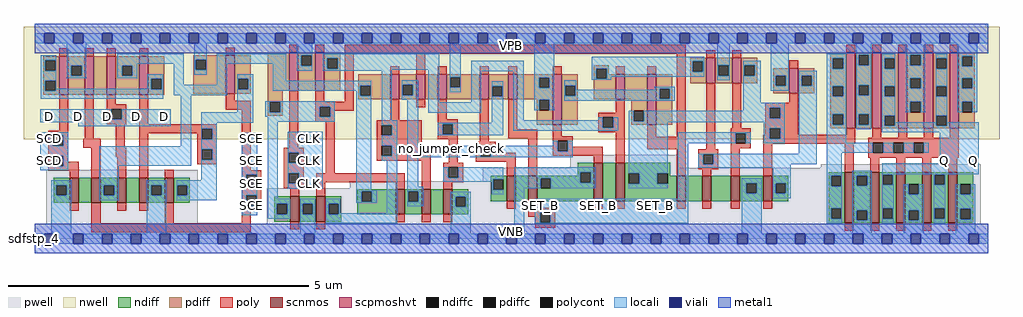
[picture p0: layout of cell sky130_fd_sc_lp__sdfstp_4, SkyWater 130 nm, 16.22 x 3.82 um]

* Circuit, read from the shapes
.subckt sky130_fd_sc_lp__sdfstp_4 CLK D SCD SCE SET_B VGND VNB VPB VPWR Q
XM1 n1 SCD VGND VNB sky130_fd_pr__nfet_01v8 w=0.42 l=0.15
XM2 n2 SCE n1 VNB sky130_fd_pr__nfet_01v8 w=0.42 l=0.15
XM3 n3 D n2 VNB sky130_fd_pr__nfet_01v8 w=0.42 l=0.15
XM4 VGND n4 n3 VNB sky130_fd_pr__nfet_01v8 w=0.42 l=0.15
XM5 n4 SCE VGND VNB sky130_fd_pr__nfet_01v8 w=0.42 l=0.15
XM6 VGND CLK n5 VNB sky130_fd_pr__nfet_01v8 w=0.42 l=0.15
XM7 n6 n5 VGND VNB sky130_fd_pr__nfet_01v8 w=0.42 l=0.15
XM8 n7 n5 n2 VNB sky130_fd_pr__nfet_01v8 w=0.42 l=0.15
XM9 n8 n6 n7 VNB sky130_fd_pr__nfet_01v8 w=0.42 l=0.15
XM10 VGND n9 n8 VNB sky130_fd_pr__nfet_01v8 w=0.42 l=0.15
XM11 n10 n7 n9 VNB sky130_fd_pr__nfet_01v8 w=0.42 l=0.15
XM12 VGND SET_B n10 VNB sky130_fd_pr__nfet_01v8 w=0.42 l=0.15
XM13 n11 n7 VGND VNB sky130_fd_pr__nfet_01v8 w=0.64 l=0.15
XM14 n12 n6 n11 VNB sky130_fd_pr__nfet_01v8 w=0.64 l=0.15
XM15 n13 n5 n12 VNB sky130_fd_pr__nfet_01v8 w=0.42 l=0.15
XM16 n14 n15 n13 VNB sky130_fd_pr__nfet_01v8 w=0.42 l=0.15
XM17 VGND SET_B n14 VNB sky130_fd_pr__nfet_01v8 w=0.42 l=0.15
XM18 n15 n12 VGND VNB sky130_fd_pr__nfet_01v8 w=0.42 l=0.15
XM19 VGND n12 n16 VNB sky130_fd_pr__nfet_01v8 w=0.84 l=0.15
XM20 Q n16 VGND VNB sky130_fd_pr__nfet_01v8 w=0.84 l=0.15 m=4
XM21 VPWR SCD n17 VPB sky130_fd_pr__pfet_01v8_hvt w=0.64 l=0.15
XM22 n18 SCE VPWR VPB sky130_fd_pr__pfet_01v8_hvt w=0.64 l=0.15
XM23 n2 D n18 VPB sky130_fd_pr__pfet_01v8_hvt w=0.64 l=0.15
XM24 n17 n4 n2 VPB sky130_fd_pr__pfet_01v8_hvt w=0.64 l=0.15
XM25 n4 SCE VPWR VPB sky130_fd_pr__pfet_01v8_hvt w=0.64 l=0.15
XM26 VPWR CLK n5 VPB sky130_fd_pr__pfet_01v8_hvt w=0.64 l=0.15
XM27 n6 n5 VPWR VPB sky130_fd_pr__pfet_01v8_hvt w=0.64 l=0.15
XM28 n7 n6 n2 VPB sky130_fd_pr__pfet_01v8_hvt w=0.42 l=0.15
XM29 n19 n5 n7 VPB sky130_fd_pr__pfet_01v8_hvt w=0.42 l=0.15
XM30 VPWR n9 n19 VPB sky130_fd_pr__pfet_01v8_hvt w=0.42 l=0.15
XM31 n9 n7 VPWR VPB sky130_fd_pr__pfet_01v8_hvt w=0.42 l=0.15
XM32 VPWR SET_B n9 VPB sky130_fd_pr__pfet_01v8_hvt w=0.42 l=0.15
XM33 n20 n7 VPWR VPB sky130_fd_pr__pfet_01v8_hvt w=0.84 l=0.15
XM34 n12 n6 n21 VPB sky130_fd_pr__pfet_01v8_hvt w=0.42 l=0.15
XM35 n20 n5 n12 VPB sky130_fd_pr__pfet_01v8_hvt w=0.84 l=0.15
XM36 VPWR n15 n21 VPB sky130_fd_pr__pfet_01v8_hvt w=0.42 l=0.15
XM37 n12 SET_B VPWR VPB sky130_fd_pr__pfet_01v8_hvt w=0.42 l=0.15
XM38 n15 n12 VPWR VPB sky130_fd_pr__pfet_01v8_hvt w=0.42 l=0.15
XM39 VPWR n12 n16 VPB sky130_fd_pr__pfet_01v8_hvt w=1.26 l=0.15
XM40 Q n16 VPWR VPB sky130_fd_pr__pfet_01v8_hvt w=1.26 l=0.15 m=4
.ends

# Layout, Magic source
magic
tech sky130A
magscale 1 2
<< nwell >>
rect -38 331 3206 704
<< pwell >>
rect 1779 235 2137 279
rect 2612 235 3144 247
rect 37 49 541 229
rect 1489 191 3144 235
rect 1046 167 3144 191
rect 770 49 3144 167
rect 0 0 3168 49
<< scnmos >>
rect 116 119 146 203
rect 188 119 218 203
rect 274 119 304 203
rect 346 119 376 203
rect 432 119 462 203
rect 849 57 879 141
rect 935 57 965 141
rect 1199 81 1229 165
rect 1285 81 1315 165
rect 1357 81 1387 165
rect 1568 125 1598 209
rect 1640 125 1670 209
rect 1858 125 1888 253
rect 1930 125 1960 253
rect 2133 125 2163 209
rect 2218 125 2248 209
rect 2313 125 2343 209
rect 2421 125 2451 209
rect 2691 53 2721 221
rect 2777 53 2807 221
rect 2863 53 2893 221
rect 2949 53 2979 221
rect 3035 53 3065 221
<< scpmoshvt >>
rect 80 479 110 607
rect 166 479 196 607
rect 238 479 268 607
rect 346 479 376 607
rect 634 481 664 609
rect 845 491 875 619
rect 931 491 961 619
rect 1181 463 1211 547
rect 1267 463 1297 547
rect 1339 463 1369 547
rect 1479 463 1509 547
rect 1573 463 1603 547
rect 1721 379 1751 547
rect 1930 463 1960 547
rect 2035 379 2065 547
rect 2231 517 2261 601
rect 2317 517 2347 601
rect 2507 483 2537 567
rect 2697 367 2727 619
rect 2783 367 2813 619
rect 2869 367 2899 619
rect 2955 367 2985 619
rect 3041 367 3071 619
<< ndiff >>
rect 63 178 116 203
rect 63 144 71 178
rect 105 144 116 178
rect 63 119 116 144
rect 146 119 188 203
rect 218 178 274 203
rect 218 144 229 178
rect 263 144 274 178
rect 218 119 274 144
rect 304 119 346 203
rect 376 178 432 203
rect 376 144 387 178
rect 421 144 432 178
rect 376 119 432 144
rect 462 178 515 203
rect 462 144 473 178
rect 507 144 515 178
rect 462 119 515 144
rect 1805 220 1858 253
rect 1805 209 1813 220
rect 1515 197 1568 209
rect 1072 157 1199 165
rect 796 116 849 141
rect 796 82 804 116
rect 838 82 849 116
rect 796 57 849 82
rect 879 116 935 141
rect 879 82 890 116
rect 924 82 935 116
rect 879 57 935 82
rect 965 116 1018 141
rect 965 82 976 116
rect 1010 82 1018 116
rect 965 57 1018 82
rect 1072 123 1086 157
rect 1120 123 1199 157
rect 1072 81 1199 123
rect 1229 157 1285 165
rect 1229 123 1240 157
rect 1274 123 1285 157
rect 1229 81 1285 123
rect 1315 81 1357 165
rect 1387 140 1440 165
rect 1387 106 1398 140
rect 1432 106 1440 140
rect 1515 163 1523 197
rect 1557 163 1568 197
rect 1515 125 1568 163
rect 1598 125 1640 209
rect 1670 201 1813 209
rect 1670 167 1681 201
rect 1715 186 1813 201
rect 1847 186 1858 220
rect 1715 167 1858 186
rect 1670 125 1858 167
rect 1888 125 1930 253
rect 1960 217 2111 253
rect 1960 183 1974 217
rect 2008 183 2069 217
rect 2103 209 2111 217
rect 2638 209 2691 221
rect 2103 183 2133 209
rect 1960 125 2133 183
rect 2163 125 2218 209
rect 2248 125 2313 209
rect 2343 185 2421 209
rect 2343 151 2365 185
rect 2399 151 2421 185
rect 2343 125 2421 151
rect 2451 185 2504 209
rect 2451 151 2462 185
rect 2496 151 2504 185
rect 2451 125 2504 151
rect 2638 175 2646 209
rect 2680 175 2691 209
rect 1387 81 1440 106
rect 2638 101 2691 175
rect 2638 67 2646 101
rect 2680 67 2691 101
rect 2638 53 2691 67
rect 2721 210 2777 221
rect 2721 176 2732 210
rect 2766 176 2777 210
rect 2721 95 2777 176
rect 2721 61 2732 95
rect 2766 61 2777 95
rect 2721 53 2777 61
rect 2807 213 2863 221
rect 2807 179 2818 213
rect 2852 179 2863 213
rect 2807 101 2863 179
rect 2807 67 2818 101
rect 2852 67 2863 101
rect 2807 53 2863 67
rect 2893 181 2949 221
rect 2893 147 2904 181
rect 2938 147 2949 181
rect 2893 95 2949 147
rect 2893 61 2904 95
rect 2938 61 2949 95
rect 2893 53 2949 61
rect 2979 213 3035 221
rect 2979 179 2990 213
rect 3024 179 3035 213
rect 2979 101 3035 179
rect 2979 67 2990 101
rect 3024 67 3035 101
rect 2979 53 3035 67
rect 3065 181 3118 221
rect 3065 147 3076 181
rect 3110 147 3118 181
rect 3065 99 3118 147
rect 3065 65 3076 99
rect 3110 65 3118 99
rect 3065 53 3118 65
<< pdiff >>
rect 27 593 80 607
rect 27 559 35 593
rect 69 559 80 593
rect 27 525 80 559
rect 27 491 35 525
rect 69 491 80 525
rect 27 479 80 491
rect 110 575 166 607
rect 110 541 121 575
rect 155 541 166 575
rect 110 479 166 541
rect 196 479 238 607
rect 268 575 346 607
rect 268 541 290 575
rect 324 541 346 575
rect 268 479 346 541
rect 376 531 429 607
rect 376 497 387 531
rect 421 497 429 531
rect 376 479 429 497
rect 527 595 634 609
rect 527 561 535 595
rect 569 561 634 595
rect 527 481 634 561
rect 664 531 717 609
rect 664 497 675 531
rect 709 497 717 531
rect 664 481 717 497
rect 773 491 845 619
rect 875 609 931 619
rect 875 575 886 609
rect 920 575 931 609
rect 875 491 931 575
rect 961 599 1014 619
rect 961 565 972 599
rect 1006 565 1014 599
rect 961 491 1014 565
rect 773 455 823 491
rect 773 421 781 455
rect 815 421 823 455
rect 773 409 823 421
rect 1858 565 1908 577
rect 1074 509 1181 547
rect 1074 475 1082 509
rect 1116 475 1181 509
rect 1074 463 1181 475
rect 1211 511 1267 547
rect 1211 477 1222 511
rect 1256 477 1267 511
rect 1211 463 1267 477
rect 1297 463 1339 547
rect 1369 537 1479 547
rect 1369 503 1380 537
rect 1414 503 1479 537
rect 1369 463 1479 503
rect 1509 507 1573 547
rect 1509 473 1520 507
rect 1554 473 1573 507
rect 1509 463 1573 473
rect 1603 535 1721 547
rect 1603 501 1676 535
rect 1710 501 1721 535
rect 1603 463 1721 501
rect 1668 461 1721 463
rect 1668 427 1676 461
rect 1710 427 1721 461
rect 1668 379 1721 427
rect 1751 509 1804 547
rect 1751 475 1762 509
rect 1796 475 1804 509
rect 1751 379 1804 475
rect 1858 531 1866 565
rect 1900 547 1908 565
rect 1900 531 1930 547
rect 1858 463 1930 531
rect 1960 463 2035 547
rect 1982 425 2035 463
rect 1982 391 1990 425
rect 2024 391 2035 425
rect 1982 379 2035 391
rect 2065 499 2118 547
rect 2065 465 2076 499
rect 2110 465 2118 499
rect 2065 379 2118 465
rect 2178 589 2231 601
rect 2178 555 2186 589
rect 2220 555 2231 589
rect 2178 517 2231 555
rect 2261 576 2317 601
rect 2261 542 2272 576
rect 2306 542 2317 576
rect 2261 517 2317 542
rect 2347 576 2400 601
rect 2644 599 2697 619
rect 2347 542 2358 576
rect 2392 542 2400 576
rect 2347 517 2400 542
rect 2454 542 2507 567
rect 2454 508 2462 542
rect 2496 508 2507 542
rect 2454 483 2507 508
rect 2537 542 2590 567
rect 2537 508 2548 542
rect 2582 508 2590 542
rect 2537 483 2590 508
rect 2644 565 2652 599
rect 2686 565 2697 599
rect 2644 507 2697 565
rect 2644 473 2652 507
rect 2686 473 2697 507
rect 2644 413 2697 473
rect 2644 379 2652 413
rect 2686 379 2697 413
rect 2644 367 2697 379
rect 2727 611 2783 619
rect 2727 577 2738 611
rect 2772 577 2783 611
rect 2727 510 2783 577
rect 2727 476 2738 510
rect 2772 476 2783 510
rect 2727 413 2783 476
rect 2727 379 2738 413
rect 2772 379 2783 413
rect 2727 367 2783 379
rect 2813 599 2869 619
rect 2813 565 2824 599
rect 2858 565 2869 599
rect 2813 507 2869 565
rect 2813 473 2824 507
rect 2858 473 2869 507
rect 2813 409 2869 473
rect 2813 375 2824 409
rect 2858 375 2869 409
rect 2813 367 2869 375
rect 2899 611 2955 619
rect 2899 577 2910 611
rect 2944 577 2955 611
rect 2899 534 2955 577
rect 2899 500 2910 534
rect 2944 500 2955 534
rect 2899 455 2955 500
rect 2899 421 2910 455
rect 2944 421 2955 455
rect 2899 367 2955 421
rect 2985 599 3041 619
rect 2985 565 2996 599
rect 3030 565 3041 599
rect 2985 507 3041 565
rect 2985 473 2996 507
rect 3030 473 3041 507
rect 2985 409 3041 473
rect 2985 375 2996 409
rect 3030 375 3041 409
rect 2985 367 3041 375
rect 3071 607 3124 619
rect 3071 573 3082 607
rect 3116 573 3124 607
rect 3071 534 3124 573
rect 3071 500 3082 534
rect 3116 500 3124 534
rect 3071 455 3124 500
rect 3071 421 3082 455
rect 3116 421 3124 455
rect 3071 367 3124 421
<< ndiffc >>
rect 71 144 105 178
rect 229 144 263 178
rect 387 144 421 178
rect 473 144 507 178
rect 804 82 838 116
rect 890 82 924 116
rect 976 82 1010 116
rect 1086 123 1120 157
rect 1240 123 1274 157
rect 1398 106 1432 140
rect 1523 163 1557 197
rect 1681 167 1715 201
rect 1813 186 1847 220
rect 1974 183 2008 217
rect 2069 183 2103 217
rect 2365 151 2399 185
rect 2462 151 2496 185
rect 2646 175 2680 209
rect 2646 67 2680 101
rect 2732 176 2766 210
rect 2732 61 2766 95
rect 2818 179 2852 213
rect 2818 67 2852 101
rect 2904 147 2938 181
rect 2904 61 2938 95
rect 2990 179 3024 213
rect 2990 67 3024 101
rect 3076 147 3110 181
rect 3076 65 3110 99
<< pdiffc >>
rect 35 559 69 593
rect 35 491 69 525
rect 121 541 155 575
rect 290 541 324 575
rect 387 497 421 531
rect 535 561 569 595
rect 675 497 709 531
rect 886 575 920 609
rect 972 565 1006 599
rect 781 421 815 455
rect 1082 475 1116 509
rect 1222 477 1256 511
rect 1380 503 1414 537
rect 1520 473 1554 507
rect 1676 501 1710 535
rect 1676 427 1710 461
rect 1762 475 1796 509
rect 1866 531 1900 565
rect 1990 391 2024 425
rect 2076 465 2110 499
rect 2186 555 2220 589
rect 2272 542 2306 576
rect 2358 542 2392 576
rect 2462 508 2496 542
rect 2548 508 2582 542
rect 2652 565 2686 599
rect 2652 473 2686 507
rect 2652 379 2686 413
rect 2738 577 2772 611
rect 2738 476 2772 510
rect 2738 379 2772 413
rect 2824 565 2858 599
rect 2824 473 2858 507
rect 2824 375 2858 409
rect 2910 577 2944 611
rect 2910 500 2944 534
rect 2910 421 2944 455
rect 2996 565 3030 599
rect 2996 473 3030 507
rect 2996 375 3030 409
rect 3082 573 3116 607
rect 3082 500 3116 534
rect 3082 421 3116 455
<< poly >>
rect 80 607 110 633
rect 166 607 196 633
rect 238 607 268 633
rect 346 607 376 633
rect 634 609 664 635
rect 845 619 875 645
rect 931 619 961 645
rect 1029 615 2163 645
rect 80 359 110 479
rect 44 343 110 359
rect 44 309 60 343
rect 94 309 110 343
rect 166 333 196 479
rect 238 447 268 479
rect 238 431 304 447
rect 238 397 254 431
rect 288 397 304 431
rect 238 381 304 397
rect 346 381 376 479
rect 634 459 664 481
rect 634 429 717 459
rect 44 275 110 309
rect 160 303 218 333
rect 44 241 60 275
rect 94 255 110 275
rect 94 241 146 255
rect 44 225 146 241
rect 116 203 146 225
rect 188 203 218 303
rect 268 303 298 381
rect 346 365 605 381
rect 346 351 555 365
rect 268 273 304 303
rect 274 203 304 273
rect 346 203 376 351
rect 539 331 555 351
rect 589 331 605 365
rect 539 297 605 331
rect 539 263 555 297
rect 589 263 605 297
rect 539 247 605 263
rect 432 203 462 229
rect 687 228 717 429
rect 845 302 875 491
rect 931 455 961 491
rect 1029 455 1059 615
rect 1181 547 1211 573
rect 1267 547 1297 615
rect 1339 547 1369 573
rect 1479 547 1509 573
rect 1573 547 1603 573
rect 1721 547 1751 573
rect 931 439 1059 455
rect 931 405 947 439
rect 981 425 1059 439
rect 981 405 997 425
rect 931 389 997 405
rect 1181 393 1211 463
rect 1267 437 1297 463
rect 1339 397 1369 463
rect 827 286 893 302
rect 827 252 843 286
rect 877 252 893 286
rect 687 212 753 228
rect 687 178 703 212
rect 737 178 753 212
rect 687 144 753 178
rect 827 218 893 252
rect 827 184 843 218
rect 877 184 893 218
rect 967 217 997 389
rect 1136 377 1285 393
rect 1136 343 1152 377
rect 1186 343 1285 377
rect 1136 309 1285 343
rect 1339 381 1405 397
rect 1339 347 1355 381
rect 1389 347 1405 381
rect 1339 331 1405 347
rect 1136 275 1152 309
rect 1186 289 1285 309
rect 1186 275 1315 289
rect 1136 259 1315 275
rect 827 168 893 184
rect 935 187 1229 217
rect 116 93 146 119
rect 188 51 218 119
rect 274 93 304 119
rect 346 93 376 119
rect 432 51 462 119
rect 687 110 703 144
rect 737 110 753 144
rect 849 141 879 168
rect 935 141 965 187
rect 1199 165 1229 187
rect 1285 165 1315 259
rect 1375 253 1405 331
rect 1479 323 1509 463
rect 1573 364 1603 463
rect 1930 547 1960 573
rect 2035 547 2065 573
rect 1930 419 1960 463
rect 1872 403 1960 419
rect 1573 334 1670 364
rect 1465 307 1531 323
rect 1465 273 1481 307
rect 1515 286 1531 307
rect 1515 273 1598 286
rect 1465 256 1598 273
rect 1357 237 1423 253
rect 1357 203 1373 237
rect 1407 203 1423 237
rect 1568 209 1598 256
rect 1640 209 1670 334
rect 1721 341 1751 379
rect 1872 369 1888 403
rect 1922 369 1960 403
rect 1872 353 1960 369
rect 1721 325 1787 341
rect 1721 291 1737 325
rect 1771 305 1787 325
rect 1771 291 1888 305
rect 1721 275 1888 291
rect 1858 253 1888 275
rect 1930 253 1960 353
rect 2035 339 2065 379
rect 2133 339 2163 615
rect 2231 601 2261 627
rect 2317 601 2347 627
rect 2697 619 2727 645
rect 2783 619 2813 645
rect 2869 619 2899 645
rect 2955 619 2985 645
rect 3041 619 3071 645
rect 2507 567 2537 593
rect 2035 297 2163 339
rect 2231 297 2261 517
rect 2317 367 2347 517
rect 2507 451 2537 483
rect 2427 435 2537 451
rect 2427 401 2443 435
rect 2477 401 2537 435
rect 2427 367 2537 401
rect 2313 351 2379 367
rect 2313 317 2329 351
rect 2363 317 2379 351
rect 2427 345 2443 367
rect 2313 301 2379 317
rect 2421 333 2443 345
rect 2477 345 2537 367
rect 2697 345 2727 367
rect 2477 333 2727 345
rect 2783 335 2813 367
rect 2869 335 2899 367
rect 2955 335 2985 367
rect 3041 335 3071 367
rect 2421 315 2727 333
rect 2769 319 3071 335
rect 1357 187 1423 203
rect 1357 165 1387 187
rect 687 94 753 110
rect 687 51 717 94
rect 2133 209 2163 297
rect 2205 281 2271 297
rect 2205 247 2221 281
rect 2255 247 2271 281
rect 2205 231 2271 247
rect 2218 209 2248 231
rect 2313 209 2343 301
rect 2421 209 2451 315
rect 2691 221 2721 315
rect 2769 285 2785 319
rect 2819 285 2853 319
rect 2887 285 2921 319
rect 2955 285 3071 319
rect 2769 269 3071 285
rect 2777 221 2807 269
rect 2863 221 2893 269
rect 2949 221 2979 269
rect 3035 221 3065 269
rect 1568 99 1598 125
rect 1640 103 1670 125
rect 1640 87 1729 103
rect 1858 99 1888 125
rect 1930 99 1960 125
rect 2133 99 2163 125
rect 2218 99 2248 125
rect 2313 99 2343 125
rect 2421 99 2451 125
rect 188 21 717 51
rect 849 31 879 57
rect 935 31 965 57
rect 1199 55 1229 81
rect 1285 55 1315 81
rect 1357 55 1387 81
rect 1640 73 1679 87
rect 1663 53 1679 73
rect 1713 53 1729 87
rect 1663 37 1729 53
rect 2691 27 2721 53
rect 2777 27 2807 53
rect 2863 27 2893 53
rect 2949 27 2979 53
rect 3035 27 3065 53
<< polycont >>
rect 60 309 94 343
rect 254 397 288 431
rect 60 241 94 275
rect 555 331 589 365
rect 555 263 589 297
rect 947 405 981 439
rect 843 252 877 286
rect 703 178 737 212
rect 843 184 877 218
rect 1152 343 1186 377
rect 1355 347 1389 381
rect 1152 275 1186 309
rect 703 110 737 144
rect 1481 273 1515 307
rect 1373 203 1407 237
rect 1888 369 1922 403
rect 1737 291 1771 325
rect 2443 401 2477 435
rect 2329 317 2363 351
rect 2443 333 2477 367
rect 2221 247 2255 281
rect 2785 285 2819 319
rect 2853 285 2887 319
rect 2921 285 2955 319
rect 1679 53 1713 87
<< locali >>
rect 0 649 31 683
rect 65 649 127 683
rect 161 649 223 683
rect 257 649 319 683
rect 353 649 415 683
rect 449 649 511 683
rect 545 649 607 683
rect 641 649 703 683
rect 737 649 799 683
rect 833 649 895 683
rect 929 649 991 683
rect 1025 649 1087 683
rect 1121 649 1183 683
rect 1217 649 1279 683
rect 1313 649 1375 683
rect 1409 649 1471 683
rect 1505 649 1567 683
rect 1601 649 1663 683
rect 1697 649 1759 683
rect 1793 649 1855 683
rect 1889 649 1951 683
rect 1985 649 2047 683
rect 2081 649 2143 683
rect 2177 649 2239 683
rect 2273 649 2335 683
rect 2369 649 2431 683
rect 2465 649 2527 683
rect 2561 649 2623 683
rect 2657 649 2719 683
rect 2753 649 2815 683
rect 2849 649 2911 683
rect 2945 649 3007 683
rect 3041 649 3103 683
rect 3137 649 3168 683
rect 19 593 71 609
rect 19 559 35 593
rect 69 559 71 593
rect 19 525 71 559
rect 105 575 171 649
rect 105 541 121 575
rect 155 541 171 575
rect 105 533 171 541
rect 274 581 495 615
rect 274 575 340 581
rect 274 541 290 575
rect 324 541 340 575
rect 274 533 340 541
rect 19 491 35 525
rect 69 499 71 525
rect 374 531 427 547
rect 374 499 387 531
rect 69 497 387 499
rect 421 497 427 531
rect 69 491 427 497
rect 19 465 427 491
rect 461 511 495 581
rect 529 595 571 649
rect 529 561 535 595
rect 569 561 571 595
rect 529 545 571 561
rect 605 581 836 615
rect 605 511 639 581
rect 461 477 639 511
rect 673 531 725 547
rect 673 497 675 531
rect 709 497 725 531
rect 17 397 254 431
rect 288 397 451 431
rect 17 387 451 397
rect 144 374 451 387
rect 17 343 110 353
rect 17 309 60 343
rect 94 309 110 343
rect 17 275 110 309
rect 485 308 519 477
rect 673 420 725 497
rect 791 525 836 581
rect 870 609 922 649
rect 870 575 886 609
rect 920 575 922 609
rect 870 559 922 575
rect 956 599 1344 615
rect 956 565 972 599
rect 1006 565 1344 599
rect 956 561 1344 565
rect 956 559 1186 561
rect 791 509 1118 525
rect 791 491 1082 509
rect 1068 475 1082 491
rect 1116 475 1118 509
rect 17 241 60 275
rect 94 241 110 275
rect 17 228 110 241
rect 213 243 519 308
rect 553 386 725 420
rect 765 455 997 457
rect 765 421 781 455
rect 815 439 997 455
rect 815 421 947 439
rect 765 405 947 421
rect 981 405 997 439
rect 773 389 997 405
rect 553 365 605 386
rect 553 331 555 365
rect 589 331 605 365
rect 553 297 605 331
rect 553 263 555 297
rect 589 263 605 297
rect 55 178 121 194
rect 55 144 71 178
rect 105 144 121 178
rect 55 17 121 144
rect 213 178 279 243
rect 553 194 605 263
rect 213 144 229 178
rect 263 144 279 178
rect 213 128 279 144
rect 371 178 437 194
rect 371 144 387 178
rect 421 144 437 178
rect 371 17 437 144
rect 471 178 605 194
rect 471 144 473 178
rect 507 144 605 178
rect 471 128 605 144
rect 687 212 739 352
rect 687 178 703 212
rect 737 178 739 212
rect 687 144 739 178
rect 687 110 703 144
rect 737 110 739 144
rect 687 78 739 110
rect 773 132 807 389
rect 841 286 956 355
rect 841 252 843 286
rect 877 252 956 286
rect 841 218 956 252
rect 841 184 843 218
rect 877 184 956 218
rect 841 166 956 184
rect 1068 161 1118 475
rect 1152 393 1186 559
rect 1220 511 1274 527
rect 1220 477 1222 511
rect 1256 477 1274 511
rect 1220 461 1274 477
rect 1152 377 1204 393
rect 1186 343 1204 377
rect 1152 309 1204 343
rect 1186 275 1204 309
rect 1152 259 1204 275
rect 1068 157 1136 161
rect 773 116 848 132
rect 773 82 804 116
rect 838 82 848 116
rect 773 66 848 82
rect 882 116 932 132
rect 882 82 890 116
rect 924 82 932 116
rect 882 17 932 82
rect 966 116 1014 132
rect 1068 123 1086 157
rect 1120 123 1136 157
rect 1068 119 1136 123
rect 966 82 976 116
rect 1010 85 1014 116
rect 1170 85 1204 259
rect 1238 309 1274 461
rect 1308 453 1344 561
rect 1378 537 1416 649
rect 1378 503 1380 537
rect 1414 503 1416 537
rect 1378 487 1416 503
rect 1450 557 1624 591
rect 1450 453 1484 557
rect 1308 419 1484 453
rect 1518 507 1556 523
rect 1518 473 1520 507
rect 1554 473 1556 507
rect 1518 385 1556 473
rect 1339 381 1556 385
rect 1339 347 1355 381
rect 1389 347 1556 381
rect 1590 393 1624 557
rect 1660 535 1726 649
rect 1660 501 1676 535
rect 1710 501 1726 535
rect 1850 589 2224 605
rect 1850 565 2186 589
rect 1850 531 1866 565
rect 1900 555 2186 565
rect 2220 555 2224 589
rect 1900 539 2224 555
rect 2268 576 2310 649
rect 2268 542 2272 576
rect 2306 542 2310 576
rect 1900 531 1916 539
rect 1850 529 1916 531
rect 1660 461 1726 501
rect 1660 427 1676 461
rect 1710 427 1726 461
rect 1760 509 1800 527
rect 2268 526 2310 542
rect 2354 576 2412 592
rect 2354 542 2358 576
rect 2392 542 2412 576
rect 1760 475 1762 509
rect 1796 495 1800 509
rect 2060 499 2126 505
rect 2060 495 2076 499
rect 1796 475 2076 495
rect 1760 465 2076 475
rect 2110 465 2126 499
rect 1760 459 2126 465
rect 2354 451 2412 542
rect 2446 542 2505 649
rect 2632 599 2696 615
rect 2632 565 2652 599
rect 2686 565 2696 599
rect 2446 508 2462 542
rect 2496 508 2505 542
rect 2446 492 2505 508
rect 2539 542 2598 558
rect 2539 508 2548 542
rect 2582 508 2598 542
rect 2354 435 2493 451
rect 2354 425 2443 435
rect 1872 393 1888 403
rect 1590 369 1888 393
rect 1922 369 1938 403
rect 1590 359 1938 369
rect 1974 391 1990 425
rect 2024 401 2443 425
rect 2477 401 2493 435
rect 2024 391 2493 401
rect 1974 387 2493 391
rect 1339 343 1556 347
rect 1721 309 1737 325
rect 1238 307 1737 309
rect 1238 273 1481 307
rect 1515 291 1737 307
rect 1771 291 1787 325
rect 1515 273 1787 291
rect 1238 271 1787 273
rect 1238 173 1274 271
rect 1357 203 1373 237
rect 1407 203 1557 237
rect 1357 197 1557 203
rect 1357 190 1523 197
rect 1238 157 1290 173
rect 1238 123 1240 157
rect 1274 123 1290 157
rect 1519 163 1523 190
rect 1238 107 1290 123
rect 1382 140 1448 156
rect 1519 147 1557 163
rect 1593 220 1863 237
rect 1593 201 1813 220
rect 1593 167 1681 201
rect 1715 186 1813 201
rect 1847 186 1863 220
rect 1715 167 1863 186
rect 1974 217 2103 387
rect 2422 367 2493 387
rect 2008 183 2069 217
rect 1974 167 2103 183
rect 2137 351 2379 353
rect 2137 317 2329 351
rect 2363 317 2379 351
rect 2422 333 2443 367
rect 2477 333 2493 367
rect 2422 317 2493 333
rect 1010 82 1204 85
rect 966 51 1204 82
rect 1382 106 1398 140
rect 1432 106 1448 140
rect 1382 17 1448 106
rect 1593 17 1627 167
rect 2137 133 2171 317
rect 2539 283 2598 508
rect 2205 281 2598 283
rect 2205 247 2221 281
rect 2255 247 2598 281
rect 2632 507 2696 565
rect 2632 473 2652 507
rect 2686 473 2696 507
rect 2632 413 2696 473
rect 2632 379 2652 413
rect 2686 379 2696 413
rect 2632 319 2696 379
rect 2730 611 2780 649
rect 2730 577 2738 611
rect 2772 577 2780 611
rect 2730 510 2780 577
rect 2730 476 2738 510
rect 2772 476 2780 510
rect 2730 413 2780 476
rect 2730 379 2738 413
rect 2772 379 2780 413
rect 2730 363 2780 379
rect 2814 599 2860 615
rect 2814 565 2824 599
rect 2858 565 2860 599
rect 2814 507 2860 565
rect 2814 473 2824 507
rect 2858 473 2860 507
rect 2814 409 2860 473
rect 2894 611 2960 649
rect 2894 577 2910 611
rect 2944 577 2960 611
rect 2894 534 2960 577
rect 2894 500 2910 534
rect 2944 500 2960 534
rect 2894 455 2960 500
rect 2894 421 2910 455
rect 2944 421 2960 455
rect 2994 599 3032 615
rect 2994 565 2996 599
rect 3030 565 3032 599
rect 2994 507 3032 565
rect 2994 473 2996 507
rect 3030 473 3032 507
rect 2814 375 2824 409
rect 2858 387 2860 409
rect 2994 409 3032 473
rect 3066 607 3132 649
rect 3066 573 3082 607
rect 3116 573 3132 607
rect 3066 534 3132 573
rect 3066 500 3082 534
rect 3116 500 3132 534
rect 3066 455 3132 500
rect 3066 421 3082 455
rect 3116 421 3132 455
rect 2994 387 2996 409
rect 2858 375 2996 387
rect 3030 387 3032 409
rect 3030 375 3137 387
rect 2814 353 3137 375
rect 2632 285 2785 319
rect 2819 285 2853 319
rect 2887 285 2921 319
rect 2955 285 2971 319
rect 2205 235 2512 247
rect 1661 87 2171 133
rect 1661 53 1679 87
rect 1713 53 2171 87
rect 1661 51 2171 53
rect 2349 185 2415 201
rect 2349 151 2365 185
rect 2399 151 2415 185
rect 2349 17 2415 151
rect 2453 185 2512 235
rect 2453 151 2462 185
rect 2496 151 2512 185
rect 2453 135 2512 151
rect 2632 209 2682 285
rect 3007 251 3137 353
rect 2632 175 2646 209
rect 2680 175 2682 209
rect 2632 101 2682 175
rect 2632 67 2646 101
rect 2680 67 2682 101
rect 2632 51 2682 67
rect 2716 210 2782 226
rect 2716 176 2732 210
rect 2766 176 2782 210
rect 2716 95 2782 176
rect 2716 61 2732 95
rect 2766 61 2782 95
rect 2716 17 2782 61
rect 2816 215 3137 251
rect 2816 213 2854 215
rect 2816 179 2818 213
rect 2852 179 2854 213
rect 2988 213 3026 215
rect 2816 101 2854 179
rect 2816 67 2818 101
rect 2852 67 2854 101
rect 2816 51 2854 67
rect 2888 147 2904 181
rect 2938 147 2954 181
rect 2888 95 2954 147
rect 2888 61 2904 95
rect 2938 61 2954 95
rect 2888 17 2954 61
rect 2988 179 2990 213
rect 3024 179 3026 213
rect 2988 101 3026 179
rect 2988 67 2990 101
rect 3024 67 3026 101
rect 2988 51 3026 67
rect 3060 147 3076 181
rect 3110 147 3126 181
rect 3060 99 3126 147
rect 3060 65 3076 99
rect 3110 65 3126 99
rect 3060 17 3126 65
rect 0 -17 31 17
rect 65 -17 127 17
rect 161 -17 223 17
rect 257 -17 319 17
rect 353 -17 415 17
rect 449 -17 511 17
rect 545 -17 607 17
rect 641 -17 703 17
rect 737 -17 799 17
rect 833 -17 895 17
rect 929 -17 991 17
rect 1025 -17 1087 17
rect 1121 -17 1183 17
rect 1217 -17 1279 17
rect 1313 -17 1375 17
rect 1409 -17 1471 17
rect 1505 -17 1567 17
rect 1601 -17 1663 17
rect 1697 -17 1759 17
rect 1793 -17 1855 17
rect 1889 -17 1951 17
rect 1985 -17 2047 17
rect 2081 -17 2143 17
rect 2177 -17 2239 17
rect 2273 -17 2335 17
rect 2369 -17 2431 17
rect 2465 -17 2527 17
rect 2561 -17 2623 17
rect 2657 -17 2719 17
rect 2753 -17 2815 17
rect 2849 -17 2911 17
rect 2945 -17 3007 17
rect 3041 -17 3103 17
rect 3137 -17 3168 17
<< viali >>
rect 31 649 65 683
rect 127 649 161 683
rect 223 649 257 683
rect 319 649 353 683
rect 415 649 449 683
rect 511 649 545 683
rect 607 649 641 683
rect 703 649 737 683
rect 799 649 833 683
rect 895 649 929 683
rect 991 649 1025 683
rect 1087 649 1121 683
rect 1183 649 1217 683
rect 1279 649 1313 683
rect 1375 649 1409 683
rect 1471 649 1505 683
rect 1567 649 1601 683
rect 1663 649 1697 683
rect 1759 649 1793 683
rect 1855 649 1889 683
rect 1951 649 1985 683
rect 2047 649 2081 683
rect 2143 649 2177 683
rect 2239 649 2273 683
rect 2335 649 2369 683
rect 2431 649 2465 683
rect 2527 649 2561 683
rect 2623 649 2657 683
rect 2719 649 2753 683
rect 2815 649 2849 683
rect 2911 649 2945 683
rect 3007 649 3041 683
rect 3103 649 3137 683
rect 31 -17 65 17
rect 127 -17 161 17
rect 223 -17 257 17
rect 319 -17 353 17
rect 415 -17 449 17
rect 511 -17 545 17
rect 607 -17 641 17
rect 703 -17 737 17
rect 799 -17 833 17
rect 895 -17 929 17
rect 991 -17 1025 17
rect 1087 -17 1121 17
rect 1183 -17 1217 17
rect 1279 -17 1313 17
rect 1375 -17 1409 17
rect 1471 -17 1505 17
rect 1567 -17 1601 17
rect 1663 -17 1697 17
rect 1759 -17 1793 17
rect 1855 -17 1889 17
rect 1951 -17 1985 17
rect 2047 -17 2081 17
rect 2143 -17 2177 17
rect 2239 -17 2273 17
rect 2335 -17 2369 17
rect 2431 -17 2465 17
rect 2527 -17 2561 17
rect 2623 -17 2657 17
rect 2719 -17 2753 17
rect 2815 -17 2849 17
rect 2911 -17 2945 17
rect 3007 -17 3041 17
rect 3103 -17 3137 17
<< metal1 >>
rect 0 683 3168 715
rect 0 649 31 683
rect 65 649 127 683
rect 161 649 223 683
rect 257 649 319 683
rect 353 649 415 683
rect 449 649 511 683
rect 545 649 607 683
rect 641 649 703 683
rect 737 649 799 683
rect 833 649 895 683
rect 929 649 991 683
rect 1025 649 1087 683
rect 1121 649 1183 683
rect 1217 649 1279 683
rect 1313 649 1375 683
rect 1409 649 1471 683
rect 1505 649 1567 683
rect 1601 649 1663 683
rect 1697 649 1759 683
rect 1793 649 1855 683
rect 1889 649 1951 683
rect 1985 649 2047 683
rect 2081 649 2143 683
rect 2177 649 2239 683
rect 2273 649 2335 683
rect 2369 649 2431 683
rect 2465 649 2527 683
rect 2561 649 2623 683
rect 2657 649 2719 683
rect 2753 649 2815 683
rect 2849 649 2911 683
rect 2945 649 3007 683
rect 3041 649 3103 683
rect 3137 649 3168 683
rect 0 617 3168 649
rect 0 17 3168 49
rect 0 -17 31 17
rect 65 -17 127 17
rect 161 -17 223 17
rect 257 -17 319 17
rect 353 -17 415 17
rect 449 -17 511 17
rect 545 -17 607 17
rect 641 -17 703 17
rect 737 -17 799 17
rect 833 -17 895 17
rect 929 -17 991 17
rect 1025 -17 1087 17
rect 1121 -17 1183 17
rect 1217 -17 1279 17
rect 1313 -17 1375 17
rect 1409 -17 1471 17
rect 1505 -17 1567 17
rect 1601 -17 1663 17
rect 1697 -17 1759 17
rect 1793 -17 1855 17
rect 1889 -17 1951 17
rect 1985 -17 2047 17
rect 2081 -17 2143 17
rect 2177 -17 2239 17
rect 2273 -17 2335 17
rect 2369 -17 2431 17
rect 2465 -17 2527 17
rect 2561 -17 2623 17
rect 2657 -17 2719 17
rect 2753 -17 2815 17
rect 2849 -17 2911 17
rect 2945 -17 3007 17
rect 3041 -17 3103 17
rect 3137 -17 3168 17
rect 0 -49 3168 -17
<< labels >>
flabel pwell s 0 0 3168 49 0 FreeSans 200 0 0 0 VNB
port 7 nsew ground bidirectional
flabel nwell s 0 617 3168 666 0 FreeSans 200 0 0 0 VPB
port 8 nsew power bidirectional
rlabel comment s 0 0 0 0 4 sdfstp_4
flabel comment s 1385 301 1385 301 0 FreeSans 200 90 0 0 no_jumper_check
flabel metal1 s 0 617 3168 666 0 FreeSans 340 0 0 0 VPWR
port 9 nsew power bidirectional
flabel metal1 s 0 0 3168 49 0 FreeSans 340 0 0 0 VGND
port 6 nsew ground bidirectional
flabel locali s 895 168 929 202 0 FreeSans 340 0 0 0 CLK
port 1 nsew clock input
flabel locali s 895 242 929 276 0 FreeSans 340 0 0 0 CLK
port 1 nsew clock input
flabel locali s 895 316 929 350 0 FreeSans 340 0 0 0 CLK
port 1 nsew clock input
flabel locali s 703 94 737 128 0 FreeSans 340 0 0 0 SCE
port 4 nsew signal input
flabel locali s 703 168 737 202 0 FreeSans 340 0 0 0 SCE
port 4 nsew signal input
flabel locali s 703 242 737 276 0 FreeSans 340 0 0 0 SCE
port 4 nsew signal input
flabel locali s 703 316 737 350 0 FreeSans 340 0 0 0 SCE
port 4 nsew signal input
flabel locali s 31 242 65 276 0 FreeSans 340 0 0 0 SCD
port 3 nsew signal input
flabel locali s 31 316 65 350 0 FreeSans 340 0 0 0 SCD
port 3 nsew signal input
flabel locali s 31 390 65 424 0 FreeSans 340 0 0 0 D
port 2 nsew signal input
flabel locali s 127 390 161 424 0 FreeSans 340 0 0 0 D
port 2 nsew signal input
flabel locali s 223 390 257 424 0 FreeSans 340 0 0 0 D
port 2 nsew signal input
flabel locali s 319 390 353 424 0 FreeSans 340 0 0 0 D
port 2 nsew signal input
flabel locali s 415 390 449 424 0 FreeSans 340 0 0 0 D
port 2 nsew signal input
flabel locali s 3007 242 3041 276 0 FreeSans 340 0 0 0 Q
port 10 nsew signal output
flabel locali s 3103 242 3137 276 0 FreeSans 340 0 0 0 Q
port 10 nsew signal output
flabel locali s 1663 94 1697 128 0 FreeSans 340 0 0 0 SET_B
port 5 nsew signal input
flabel locali s 1759 94 1793 128 0 FreeSans 340 0 0 0 SET_B
port 5 nsew signal input
flabel locali s 1855 94 1889 128 0 FreeSans 340 0 0 0 SET_B
port 5 nsew signal input
flabel locali s 1951 94 1985 128 0 FreeSans 340 0 0 0 SET_B
port 5 nsew signal input
flabel locali s 2047 94 2081 128 0 FreeSans 340 0 0 0 SET_B
port 5 nsew signal input
<< properties >>
string LEFsite unit
string LEFclass CORE
string FIXED_BBOX 0 0 3168 666
string GDS_FILE $PDKPATH/libs.ref/sky130_fd_sc_lp/gds/sky130_fd_sc_lp.gds
string LEFsymmetry X Y R90
string GDS_END 132016
string GDS_START 110222
<< end >>
